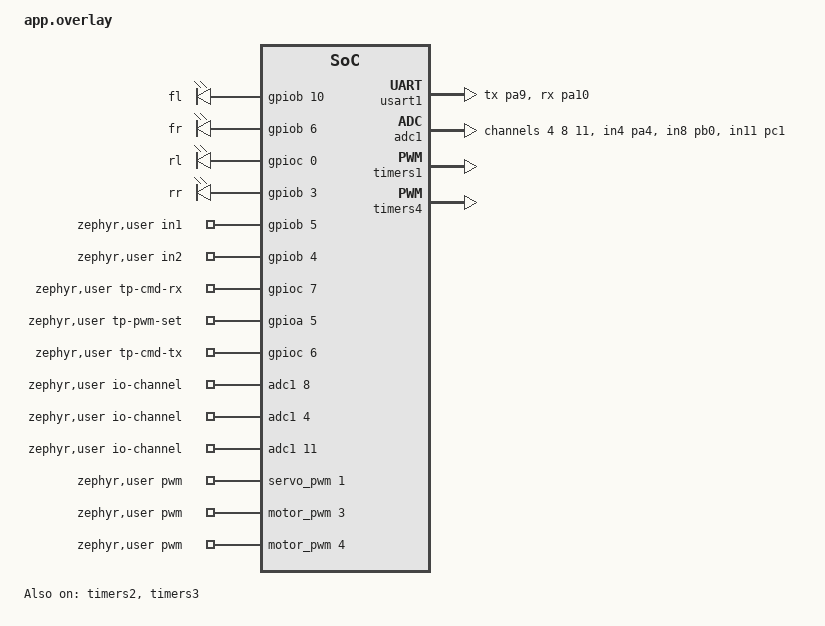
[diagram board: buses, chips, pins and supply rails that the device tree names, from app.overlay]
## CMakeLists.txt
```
# SPDX-License-Identifier: Apache-2.0

cmake_minimum_required(VERSION 3.20.0)
find_package(Zephyr REQUIRED HINTS $ENV{ZEPHYR_BASE})
project(zone_1)

target_sources(app PRIVATE
	src/main.c
	src/control.c
	src/pid.c
	src/inject.c
	src/protocol.c
	src/state.c
	src/rx.c
	src/tx.c
	src/blinker.c
	src/encoder.c
	src/servo.c
	src/motor.c
	src/current.c
)
```

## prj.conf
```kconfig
CONFIG_GPIO=y
CONFIG_PRINTK=y
CONFIG_SENSOR=y
CONFIG_PWM=y
CONFIG_FPU=y
CONFIG_ADC=y

CONFIG_SERIAL=y
CONFIG_UART_INTERRUPT_DRIVEN=y
CONFIG_RING_BUFFER=y

CONFIG_CONSOLE=y
```

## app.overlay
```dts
/ {
	blinkers {
		compatible = "gpio-leds";
		fl: fl { gpios = <&gpiob 10 GPIO_ACTIVE_HIGH>; };  /* D6 */
		fr: fr { gpios = <&gpiob 6 GPIO_ACTIVE_HIGH>; };   /* D10 */
		rl: rl { gpios = <&gpioc 0 GPIO_ACTIVE_HIGH>; };   /* A5 */
		rr: rr { gpios = <&gpiob 3 GPIO_ACTIVE_HIGH>; };   /* D3 */
	};
};

/* the board file enables these on pins we use for other things */
&spi1 { status = "disabled"; };   /* PA5-7 + cs on PB6 */
&i2c1 { status = "disabled"; };   /* PB8/PB9, needed for motor pwm */
&i2c3 { status = "disabled"; };   /* PA8, needed for servo */
&pwm2 { status = "disabled"; };   /* tim2 is the left encoder now */

/* move usart1 off PB6/PB7 to D8/D2 for the pi link */
&usart1 {
	pinctrl-0 = <&usart1_tx_pa9 &usart1_rx_pa10>;
};

/* board puts adc1 on PA0, which is now an encoder pin. these are the
 * three current sensor pins: A2, A3, A4 */
&adc1 {
	pinctrl-0 = <&adc1_in4_pa4 &adc1_in8_pb0 &adc1_in11_pc1>;
};

/* left encoder: A0/A1 */
&timers2 {
	status = "okay";

	enc_left: qdec {
		pinctrl-0 = <&tim2_ch1_pa0 &tim2_ch2_pa1>;
		pinctrl-names = "default";
		st,encoder-mode = <0x3>;           /* count every edge on both phases */
		st,input-filter-level = <10>;      /* ignore short glitches from motor noise */
		st,counts-per-revolution = <1>;    /* required, but we only read raw counts */
		status = "okay";
	};
};

/* right encoder: D12/D11 */
&timers3 {
	status = "okay";

	enc_right: qdec {
		pinctrl-0 = <&tim3_ch1_pa6 &tim3_ch2_pa7>;
		pinctrl-names = "default";
		st,encoder-mode = <0x3>;
		st,input-filter-level = <10>;
		st,counts-per-revolution = <1>;
		status = "okay";
	};
};

/* in case the encoder outputs are open-collector */
&tim2_ch1_pa0 { bias-pull-up; };
&tim2_ch2_pa1 { bias-pull-up; };
&tim3_ch1_pa6 { bias-pull-up; };
&tim3_ch2_pa7 { bias-pull-up; };

/* servo on D7. prescaler makes the timer count at 1 MHz so a 20 ms period fits in its 16-bit counter */
&timers1 {
	status = "okay";
	st,prescaler = <83>;

	servo_pwm: pwm {
		pinctrl-0 = <&tim1_ch1_pa8>;
		pinctrl-names = "default";
		status = "okay";
	};
};

/ {
	zephyr,user {
		/* 0: servo, 1: left motor (ENA), 2: right motor (ENB) */
		pwms = <&servo_pwm 1 PWM_MSEC(20) PWM_POLARITY_NORMAL>,
		       <&motor_pwm 3 PWM_USEC(100) PWM_POLARITY_NORMAL>,
		       <&motor_pwm 4 PWM_USEC(100) PWM_POLARITY_NORMAL>;
		in1-gpios = <&gpiob 5 GPIO_ACTIVE_HIGH>;   /* D4, also drives IN3 */
		in2-gpios = <&gpiob 4 GPIO_ACTIVE_HIGH>;   /* D5, also drives IN4 */
		/* scope test point: toggles on every valid wheel command */
		tp-cmd-rx-gpios = <&gpioc 7 GPIO_ACTIVE_HIGH>;   /* D9 */
		/* scope test point: toggles right after a new motor duty is written to the timer */
		tp-pwm-set-gpios = <&gpioa 5 GPIO_ACTIVE_HIGH>;  /* D13 (also the Nucleo user LED) */
		/* scope test point: toggles on every status frame sent to the Pi */
		tp-cmd-tx-gpios = <&gpioc 6 GPIO_ACTIVE_HIGH>;   /* PC6, CN10 morpho header */
		/* 0: left motor (A3), 1: right motor (A2), 2: servo (A4) */
		io-channels = <&adc1 8>, <&adc1 4>, <&adc1 11>;
	};
};

/* motor pwm on D15 (ENA) and D14 (ENB), same timer so both share a frequency */
&timers4 {
	status = "okay";

	motor_pwm: pwm {
		pinctrl-0 = <&tim4_ch3_pb8 &tim4_ch4_pb9>;
		pinctrl-names = "default";
		status = "okay";
	};
};

/* current sensors: A3 = left motor, A2 = right motor, A4 = servo */
&adc1 {
	pinctrl-0 = <&adc1_in4_pa4 &adc1_in8_pb0 &adc1_in11_pc1>;
	#address-cells = <1>;
	#size-cells = <0>;

	channel@4 {
		reg = <4>;
		zephyr,gain = "ADC_GAIN_1";
		zephyr,reference = "ADC_REF_INTERNAL";
		zephyr,acquisition-time = <ADC_ACQ_TIME(ADC_ACQ_TIME_TICKS, 144)>;
		zephyr,resolution = <12>;
	};

	channel@8 {
		reg = <8>;
		zephyr,gain = "ADC_GAIN_1";
		zephyr,reference = "ADC_REF_INTERNAL";
		zephyr,acquisition-time = <ADC_ACQ_TIME(ADC_ACQ_TIME_TICKS, 144)>;
		zephyr,resolution = <12>;
	};

	channel@b {
		reg = <11>;
		zephyr,gain = "ADC_GAIN_1";
		zephyr,reference = "ADC_REF_INTERNAL";
		zephyr,acquisition-time = <ADC_ACQ_TIME(ADC_ACQ_TIME_TICKS, 144)>;
		zephyr,resolution = <12>;
	};
};

/* built-in adc sensors from the board file, not used and they share adc1 */
&die_temp { status = "disabled"; };
&vref { status = "disabled"; };
&vbat { status = "disabled"; };
```

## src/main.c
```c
#include <zephyr/device.h>
#include <zephyr/devicetree.h>
#include <zephyr/kernel.h>
#include <zephyr/sys/printk.h>

#include "blinker.h"
#include "control.h"
#include "current.h"
#include "encoder.h"
#include "inject.h"
#include "motor.h"
#include "rx.h"
#include "servo.h"
#include "tx.h"

static const struct device *const pi_uart = DEVICE_DT_GET(DT_NODELABEL(usart1));

int main(void)
{
	printk("zone_1 boot\n");

	if (!device_is_ready(pi_uart)) {
		printk("usart1 (Pi link) not ready\n");
		return 0;
	}

	/* current zero is measured inside current_init(), so the motors must be
	 * coasting and the servo undriven until it returns */
	if (encoder_init() || motor_init() || current_init() || servo_init()) {
		printk("peripheral init failed\n");
		return 0;
	}
	blinker_init();

	rx_init();
	control_start();
	tx_start();
	inject_start(); /* TEMP: stands in for the Pi, needs PA9<->PA10 jumper */

	printk("zone_1 up\n");

	while (1) {
		k_sleep(K_SECONDS(1));
	}

	return 0;
}
```

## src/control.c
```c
#include "control.h"

#include <math.h>
#include <stdlib.h>
#include <zephyr/kernel.h>
#include <zephyr/sys/printk.h>

#include "blinker.h"
#include "encoder.h"
#include "motor.h"
#include "servo.h"
#include "state.h"

#include "pid.h"

#define PRINT_EVERY 20

#define RPM_AVG_N 4 

// encounder count is 4.5 rpm for a 10ms window -- take avg
static float rpm_average(float sample)
{
	static float buf[RPM_AVG_N];
	static float sum;
	static int idx;

	sum += sample - buf[idx];
	buf[idx] = sample;
	idx = (idx + 1) % RPM_AVG_N;
	return sum / RPM_AVG_N;
}

struct ff_point {
	int rpm;
	int duty_pct;
};

static const struct ff_point ff_table[] = FF_TABLE;
#define FF_N ARRAY_SIZE(ff_table)
#define RPM_AT_DEADBAND (ff_table[0].rpm)

/* duty % expected to hold a given rpm, interpolated between measured points */
static float ff_duty(float rpm)
{
	if (rpm <= ff_table[0].rpm) {
		return ff_table[0].duty_pct;
	}

	for (size_t i = 1; i < FF_N; i++) {
		if (rpm <= ff_table[i].rpm) {
			const struct ff_point *lo = &ff_table[i - 1];
			const struct ff_point *hi = &ff_table[i];

			return lo->duty_pct + (rpm - lo->rpm) * (hi->duty_pct - lo->duty_pct) /
						      (float)(hi->rpm - lo->rpm);
		}
	}

	return ff_table[FF_N - 1].duty_pct;
}

/* Brake. A shorted-lead brake only resists in proportion to speed, so a wheel turned slowly
 * by hand still spins. Once the wheels are nearly stopped, remember where they are and drive
 * back toward that spot whenever they get pushed off it. Fast movement just gets the
 * shorted-lead brake (no plugging at speed). */
static bool hold_anchored;
static int32_t hold_l, hold_r;
static struct spid hold_pid_l, hold_pid_r;
static float trim_l, trim_r; // last PID correction per wheel, held between ticks
static bool hold_driving;    // hysteresis: true from ENTER until back inside EXIT
static int hold_dir;         // direction last driven (+1 forward, -1 reverse, 0 none)
static int64_t hold_drive_ms; // when we last drove
static int32_t hold_prev_abs; // error magnitude at the previous tick
static bool hold_pushed;      // error shrank since the last tick: wheel is already returning, don't add drive

static void brake_hold_init(void)
{
	pid_init(&hold_pid_l, HOLD_KP, HOLD_KI, HOLD_KD, HOLD_I_LIMIT_PCT, HOLD_I_ZONE_COUNTS,
		 HOLD_OUT_LIMIT_PCT);
	pid_init(&hold_pid_r, HOLD_KP, HOLD_KI, HOLD_KD, HOLD_I_LIMIT_PCT, HOLD_I_ZONE_COUNTS,
		 HOLD_OUT_LIMIT_PCT);
}

static void brake_hold_reset_pid(void)
{
	pid_reset(&hold_pid_l);
	pid_reset(&hold_pid_r);
	trim_l = trim_r = 0.0f;
}

static void brake_hold_release(void)
{
	hold_anchored = false;
	hold_driving = false;
	hold_dir = 0;
}

static void brake_hold(uint32_t pct, float avg_rpm, bool tick)
{
	int32_t pos_l, pos_r;

	encoder_position(&pos_l, &pos_r);

	if (!hold_anchored) {
		if (fabsf(avg_rpm) > HOLD_ENTER_RPM) {
			motor_brake_duty(pct);
			return;
		}
		hold_l = pos_l;
		hold_r = pos_r;
		hold_anchored = true;
		hold_prev_abs = 0;
		hold_pushed = false;
		brake_hold_reset_pid();
	}

	int32_t err_l = hold_l - pos_l; /* > 0: pushed backward, needs to drive forward */
	int32_t err_r = hold_r - pos_r;
	int32_t big = abs(err_l) >= abs(err_r) ? err_l : err_r; /* one direction pin pair drives both */

	// shrinking error = already heading back to the anchor on its own: let the shorted leads
	// settle it. A growing error is an outside push, so keep driving against it.
	if (tick) {
		hold_pushed = abs(big) < hold_prev_abs;
		hold_prev_abs = abs(big);
	}

	// hysteresis: start at ENTER, stop at EXIT
	if (hold_driving) {
		hold_driving = abs(big) > HOLD_EXIT_COUNTS;
	} else {
		hold_driving = abs(big) > HOLD_ENTER_COUNTS;
	}

	int dir = big > 0 ? 1 : -1;
	int64_t now = k_uptime_get();
	bool flipping = hold_dir != 0 && dir != hold_dir && (now - hold_drive_ms) < HOLD_REVERSE_LOCKOUT_MS;

	if (!hold_driving || flipping || hold_pushed) {
		if (!hold_driving) {
			brake_hold_reset_pid(); // don't carry integral/derivative state into the next push
		}
		motor_brake_duty(pct);
		return;
	}

	hold_dir = dir;
	hold_drive_ms = now;

	/* a wheel that isn't off in the dominant direction gets no drive and a clean PID */
	bool drive_l = err_l * big > 0;
	bool drive_r = err_r * big > 0;

	if (tick) {
		trim_l = drive_l ? pid_update(&hold_pid_l, abs(err_l)) : 0.0f;
		trim_r = drive_r ? pid_update(&hold_pid_r, abs(err_r)) : 0.0f;
		if (!drive_l) {
			pid_reset(&hold_pid_l);
		}
		if (!drive_r) {
			pid_reset(&hold_pid_r);
		}
	}

	/* feedforward to get the motor moving, PID trim on top, never more than the pedal allows */
	uint32_t d_l = (uint32_t)CLAMP(HOLD_MIN_DUTY_PCT + trim_l, 0.0f, (float)pct);
	uint32_t d_r = (uint32_t)CLAMP(HOLD_MIN_DUTY_PCT + trim_r, 0.0f, (float)pct);

	if (big > 0) {
		motor_forward();
	} else {
		motor_reverse();
	}
	/* only the wheels that are off in the dominant direction; the other one is left alone */
	motor_duty(drive_l ? d_l : 0, drive_r ? d_r : 0);
}

struct press_detector {
	bool level;
	int64_t last_change_ms;
};

static bool pressed(struct press_detector *p, bool level, int64_t now)
{
	if (level == p->level) {
		return false;
	}

	bool steady = (now - p->last_change_ms) >= SELF_TEST_DEBOUNCE_MS;

	p->level = level;
	p->last_change_ms = now;
	return level && steady;
}

static void enter_error(uint8_t zone)
{
	blinker_hazard(true); // the brake hold in the control loop takes over the motors
	state_set_zone_state(zone);
	printk("ctl: ERROR (%s) -> brake + hazards\n", zone_state_name(zone));
}

static void leave_error(void)
{
	blinker_hazard(false);
	state_set_zone_state(ZONE_STATE_NORMAL);
	printk("ctl: back to normal\n");
}

static void control_thread(void *p1, void *p2, void *p3)
{
	ARG_UNUSED(p1);
	ARG_UNUSED(p2);
	ARG_UNUSED(p3);

	int64_t next = k_uptime_get();
	uint8_t zone = ZONE_STATE_NORMAL; // latest zone 
	bool self_test = false;
	struct press_detector st_btn = {.last_change_ms = -SELF_TEST_DEBOUNCE_MS};
	int64_t last_press_ms = 0; // when self-test was last entered
	bool prev_left = false;
	bool prev_right = false;
	uint32_t n = 0;
	uint32_t duty = 0;
	uint32_t srv_us = 0;
	int target_rpm = 0;
	float meas_rpm = 0.0f;
	float pid_trim = 0.0f; // last PID correction, held between ticks
	float cruise_rpm = 0.0f; // speed the car is rolling down from after the throttle is released
	int rpm_l = 0, rpm_r = 0;
	uint32_t lat_max_us = 0;
	struct spid pid;

	pid_init(&pid, PID_KP, PID_KI, PID_KD, PID_I_LIMIT_PCT, PID_I_ZONE_RPM, PID_OUT_LIMIT_PCT);
	brake_hold_init();

	while (1) {
		// wake on a new wheel frame, or when the next 10 ms tick is due
		bool got_frame = state_wait_wheel_frame(K_TIMEOUT_ABS_MS(next));
		bool tick = k_uptime_get() >= next;

		struct wheel_state ws;

		state_get_wheel_state(&ws);

		// first thing after the read: press = self-test on; a second press within the window = off
		if (pressed(&st_btn, ws.self_test_btn, k_uptime_get())) {
			int64_t now = k_uptime_get();

			if (self_test && ((now - last_press_ms) <= SELF_TEST_DOUBLE_PRESS_MS)) {
				self_test = false;
			} else {
				self_test = true;
				last_press_ms = now;
			}
		}

		// rpm sampling and PID assume a fixed CONTROL_PERIOD_MS step: tick only
		if (tick) {
			next += CONTROL_PERIOD_MS;
			encoder_rpm(CONTROL_PERIOD_MS, &rpm_l, &rpm_r);
			meas_rpm = rpm_average((rpm_l + rpm_r) / 2.0f); // avg across 4 ticks
		}

		int angle = ((int)ws.steering - INT16_MIN) * WHEEL_STEER_MAX / UINT16_MAX;
		srv_us = servo_set_angle(angle);
		blinker_steer(angle);

		// buttons sensitive to edges
		if (ws.left_btn && !prev_left) {
			blinker_left();
		}
		if (ws.right_btn && !prev_right) {
			blinker_right();
		}
		prev_left = ws.left_btn;
		prev_right = ws.right_btn;

		uint8_t want; 
		// priority: link lost > bad command > Pi error > self-test
		if (!link_is_alive()) {
			want = ZONE_STATE_FAILSAFE_LINK_LOST;
		} else if (bad_cmd_active()) {
			want = ZONE_STATE_FAILSAFE_BAD_CMD;
		} else if (ws.rpi_error) {
			want = ZONE_STATE_FAILSAFE_RPI_ERROR;
		} else {
			want = self_test ? ZONE_STATE_FAILSAFE_SELF_TEST : ZONE_STATE_NORMAL;
		}

		bool error = (want != ZONE_STATE_NORMAL);
		if (want != zone) {
			zone = want;
			if (error) {
				enter_error(zone);
			} else {
				leave_error();
			}
		}

		uint32_t brake_pct = ((32767 - ws.brake) * 100) / 65535;
		if (error || brake_pct > 0) {
			pid_reset(&pid);
			pid_trim = 0.0f;
			target_rpm = 0;
			cruise_rpm = 0.0f;
			// error = full brake with position hold, so a hand push can't turn the wheels.
			// steering is set above and doesn't depend on this branch
			duty = error ? 100 : brake_pct;
			brake_hold(duty, meas_rpm, tick);
		} else {
			brake_hold_release();
			// wire throttle is negative = faster; zero or positive means no throttle
			int thr = CLAMP(-(int)ws.throttle, 0, WIRE_AXIS_MAX) * WHEEL_THROTTLE_MAX / WIRE_AXIS_MAX;

			if (thr <= THROTTLE_DEADZONE) {
				/* pedal released: roll the target down like a car coasting, not hold it */
				if (tick) {
					cruise_rpm -= COAST_DECAY_RPM_PER_TICK;
				}
				cruise_rpm = MAX(cruise_rpm, 0.0f);
				target_rpm = (int)cruise_rpm;
			} else {
				/* floor at the slowest speed the motor can hold, up to max */
				target_rpm = RPM_AT_DEADBAND + (thr - THROTTLE_DEADZONE) * (MAX_TARGET_RPM - RPM_AT_DEADBAND) /
						     (WHEEL_THROTTLE_MAX - THROTTLE_DEADZONE);
				cruise_rpm = target_rpm;
			}

			if (target_rpm == 0) {
				pid_reset(&pid);
				pid_trim = 0.0f;
				duty = 0;
			} else if (target_rpm < RPM_AT_DEADBAND) {
				/* rolling off below the slowest speed the motor can hold: no rpm to track,
				 * just taper the duty down from the floor duty */
				pid_reset(&pid);
				pid_trim = 0.0f;
				duty = ff_table[0].duty_pct * target_rpm / RPM_AT_DEADBAND;
			} else {
				float ff = ff_duty(target_rpm); // est duty cycle

				// PID refines on ticks only; a frame wake reuses the last correction
				if (tick) {
					pid_trim = pid_update(&pid, target_rpm - meas_rpm);
				}
				duty = (uint32_t)(CLAMP(ff + pid_trim, 0.0f, 100.0f) + 0.5f);
			}
			motor_forward();
			motor_duty(duty, duty);
		}

		// frame -> output latency (rx store to here), worst case since last print
		if (got_frame) {
			uint32_t cyc = k_cycle_get_32() - state_wheel_frame_cycle();
			uint32_t us = (uint32_t)k_cyc_to_us_near32(cyc);

			lat_max_us = MAX(lat_max_us, us);
		}

		if (tick && ++n % PRINT_EVERY == 0) {
			printk("ctl: %-5s steer=%3d thr=%4d brk=%4d tgt=%3d avg=%3d duty=%3u%% rpm L%4d R%4d srv=%uus lat<=%uus\n",
			       error ? "ERROR" : "OK", ws.steering, ws.throttle, ws.brake,
			       target_rpm, (int)meas_rpm, duty, rpm_l, rpm_r, srv_us, lat_max_us);
			lat_max_us = 0;
		}
	}
}

#define CONTROL_STACK_SIZE 1536
#define CONTROL_PRIORITY   3 /* above rx (5) and status tx (6): brake has the tightest deadline */

K_THREAD_DEFINE(control_tid, CONTROL_STACK_SIZE, control_thread, NULL, NULL, NULL,
		CONTROL_PRIORITY, 0, SYS_FOREVER_MS);

void control_start(void)
{
	k_thread_start(control_tid);
}
```

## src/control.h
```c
#ifndef CONTROL_H_
#define CONTROL_H_

#define CONTROL_PERIOD_MS  10

// TODO: placeholder values
#define WHEEL_STEER_MAX    900   /* servo/blinker scale: 0 = full left, 450 = center, 900 = full right */
#define STEER_CENTER       (WHEEL_STEER_MAX / 2)
/* the Pi forwards the raw wheel axes (lX/lY/lRz) as signed 16-bit values:
 * steering negative = left, 0 = center; throttle/brake negative = pressed.
 * Full travel is +/-WIRE_AXIS_MAX, scaled onto the 0..WHEEL_*_MAX scales below. */
#define WIRE_AXIS_MAX      32767
#define WHEEL_THROTTLE_MAX 1000  /* magnitude; on the wire throttle is negative = faster */
#define WHEEL_BRAKE_MAX    1000

/* brake hold: once nearly stopped, lock the wheels at the position they stopped at */
#define HOLD_ENTER_RPM        5    /* above this just short the leads; anchor only once basically stopped
                                    * (1 count per 10 ms tick is ~4.5 rpm). Anchoring while still rolling
                                    * makes the wheels overshoot the anchor and the 55% kick back jitters */
/* hysteresis: start driving back once the error passes ENTER, stop (and just short the leads) once it
 * is inside EXIT. A single 55% push moves the wheel further than a small deadband, so a tight
 * deadband makes it overshoot and kick back and forth. 1320 counts/rev. */
#define HOLD_ENTER_COUNTS     8    /* ~2 deg of wheel travel; raise if it chatters at rest */
#define HOLD_EXIT_COUNTS      3
#define HOLD_REVERSE_LOCKOUT_MS 50 /* no direction flip this soon after driving the other way */
#define HOLD_MIN_DUTY_PCT     55   /* the motor doesn't move below ~50% duty, so push at least this hard */
/* hold PID: duty = HOLD_MIN_DUTY_PCT (feedforward) + PID(position error in counts). Gains are per 10 ms tick. */
#define HOLD_KP               0.5f /* duty % per encoder count of error */
#define HOLD_KI               0.0f /* off: the floor duty already overshoots, integral only adds push */
#define HOLD_KD               0.0f /* off until the limit cycle is gone; error changes ~30 counts/tick at speed */
#define HOLD_I_LIMIT_PCT      15.0f /* max duty % the integral term can contribute */
#define HOLD_I_ZONE_COUNTS    30.0f /* only integrate when the error is within this many counts */
#define HOLD_OUT_LIMIT_PCT    20.0f /* max PID trim either way */

/* throttle released: target rpm falls by this every 10 ms tick (0.5 -> 230 rpm rolls off in ~4.6 s;
 * below the slowest holdable rpm the duty tapers to 0 over the rest of the ramp) */
#define COAST_DECAY_RPM_PER_TICK 0.5f

/* PID */
#define MAX_TARGET_RPM     230

/* feedforward table */
#define FF_TABLE { \
	{ 143,  60 }, \
	{ 208,  70 }, \
	{ 266,  80 }, \
	{ 302,  90 }, \
	{ 315, 100 }, \
}
/* does not move <=50% duty; throttle at or below this commands 0 rpm */
#define THROTTLE_DEADZONE  50

// gains
#define PID_KP             0.2f
#define PID_KI             0.01f
#define PID_KD             0.0f
#define PID_I_LIMIT_PCT    30.0f // max duty % the integral term can contribute
#define PID_I_ZONE_RPM     30.0f // only integrate when abs(error) is within this
#define PID_OUT_LIMIT_PCT  20.0f // max duty the PID may change

// self test
#define SELF_TEST_DEBOUNCE_MS     20
#define SELF_TEST_DOUBLE_PRESS_MS 500

// start ctrl thread
void control_start(void);

#endif /* CONTROL_H_ */
```

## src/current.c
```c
#include <zephyr/kernel.h>
#include <zephyr/drivers/adc.h>
#include "current.h"

/* acs712elc-05b */
#define MV_PER_AMP 185
/* averaging smooths out pwm ripple at the cost of a little time per read */
#define SAMPLES 8

static const struct adc_dt_spec ch[CUR_COUNT] = {
	ADC_DT_SPEC_GET_BY_IDX(DT_PATH(zephyr_user), 0),
	ADC_DT_SPEC_GET_BY_IDX(DT_PATH(zephyr_user), 1),
	ADC_DT_SPEC_GET_BY_IDX(DT_PATH(zephyr_user), 2),
};

static int zero_mv[CUR_COUNT];

static int read_mv(const struct adc_dt_spec *spec)
{
	uint16_t buf;
	int32_t sum = 0;
	struct adc_sequence seq = {
		.buffer = &buf,
		.buffer_size = sizeof(buf),
	};

	adc_sequence_init_dt(spec, &seq);
	for (int i = 0; i < SAMPLES; i++) {
		adc_read_dt(spec, &seq);
		sum += buf;
	}

	int32_t mv = sum / SAMPLES;
	adc_raw_to_millivolts_dt(spec, &mv);
	return mv;
}

int current_init(void)
{
	for (int i = 0; i < CUR_COUNT; i++) {
		if (!adc_is_ready_dt(&ch[i])) {
			printk("adc not ready\n");
			return -ENODEV;
		}
		int err = adc_channel_setup_dt(&ch[i]);
		if (err) {
			printk("channel %d setup failed: %d\n", ch[i].channel_id, err);
			return err;
		}
	}

	/* each sensor sits near 2.5 v at 0 a but not exactly, so take the zero at boot while nothing is running */
	for (int i = 0; i < CUR_COUNT; i++) {
		zero_mv[i] = read_mv(&ch[i]);
	}
	printk("current zero: L %d  R %d  S %d mV\n",
	       zero_mv[CUR_LEFT], zero_mv[CUR_RIGHT], zero_mv[CUR_SERVO]);
	return 0;
}

void current_read_ma(int ma[CUR_COUNT])
{
	for (int i = 0; i < CUR_COUNT; i++) {
		ma[i] = (read_mv(&ch[i]) - zero_mv[i]) * 1000 / MV_PER_AMP;
	}
}
```

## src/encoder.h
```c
#pragma once

int encoder_init(void);
void encoder_rpm(int period_ms, int *left, int *right);
```

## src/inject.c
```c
#include "inject.h"

#include <zephyr/device.h>
#include <zephyr/devicetree.h>
#include <zephyr/drivers/uart.h>
#include <zephyr/kernel.h>
#include <zephyr/sys/printk.h>

#include "control.h"
#include "protocol.h"
#include "tx.h"

#define SEND_PERIOD_MS 20
#define BTN_HOLD_TICKS 5 /* a "press" lasts 100 ms, like a real button */

static const struct device *const con = DEVICE_DT_GET(DT_CHOSEN(zephyr_console));

static void print_help(void)
{
	printk("\nsteer:    a/d -/+50   c center\n");
	printk("throttle: w/s +/-100  x zero\n");
	printk("brake:    space toggle\n");
	printk("blinker:  q left  e right (button press)\n");
	printk("link:     l cut/restore the frame stream (link-loss test)\n");
	printk("other:    ? help\n\n");
}

static void inject_thread(void *p1, void *p2, void *p3)
{
	ARG_UNUSED(p1);
	ARG_UNUSED(p2);
	ARG_UNUSED(p3);

	int steering = WHEEL_STEER_MAX / 2;
	int throttle = 0;
	int brake = 0;
	int left_hold = 0, right_hold = 0;
	bool link_cut = false;
	uint8_t seq = 0;
	unsigned char c;

	print_help();

	while (1) {
		while (uart_poll_in(con, &c) == 0) {
			switch (c) {
			case 'a':
				steering = CLAMP(steering - 50, 0, WHEEL_STEER_MAX);
				break;
			case 'd':
				steering = CLAMP(steering + 50, 0, WHEEL_STEER_MAX);
				break;
			case 'c':
				steering = WHEEL_STEER_MAX / 2;
				break;
			case 'w':
				throttle = MIN(throttle + 100, WHEEL_THROTTLE_MAX);
				break;
			case 's':
				throttle = MAX(throttle - 100, 0);
				break;
			case 'x':
				throttle = 0;
				break;
			case ' ':
				brake = brake ? 0 : -WIRE_AXIS_MAX; /* negative = pressed, full brake */
				break;
			case 'q':
				left_hold = BTN_HOLD_TICKS;
				break;
			case 'e':
				right_hold = BTN_HOLD_TICKS;
				break;
			case 'l':
				link_cut = !link_cut;
				printk("> frame stream %s\n", link_cut ? "CUT" : "restored");
				break;
			case '?':
				print_help();
				break;
			}
		}

		if (!link_cut) {
			uint8_t data[8] = {0};

			/* the injector's steering/throttle are 0-based (0 = left, 450 = center;
			 * 0 = idle, up = faster); convert to the wire convention:
			 * steering signed around 0 (negative = left), throttle negative = faster */
			int16_t wire_steer = (steering - STEER_CENTER) * WIRE_AXIS_MAX / STEER_CENTER;
			int16_t wire_thr = -throttle * WIRE_AXIS_MAX / WHEEL_THROTTLE_MAX;

			data[0] = (wire_steer >> 8) & 0xFF;
			data[1] = wire_steer & 0xFF;
			data[2] = (wire_thr >> 8) & 0xFF;
			data[3] = wire_thr & 0xFF;
			data[4] = (brake >> 8) & 0xFF;
			data[5] = brake & 0xFF;
			data[6] = (left_hold ? 0x80 : 0) | (right_hold ? 0x01 : 0);

			uint8_t frame[CMD_FRAME_LEN];

			encode_frame(MSG_WHEEL_STATE, seq++, data, frame);
			uart_send_frame(frame, CMD_FRAME_LEN);
		}

		if (left_hold) {
			left_hold--;
		}
		if (right_hold) {
			right_hold--;
		}

		k_sleep(K_MSEC(SEND_PERIOD_MS));
	}
}

#define INJECT_STACK_SIZE 1024
#define INJECT_PRIORITY   7

K_THREAD_DEFINE(inject_tid, INJECT_STACK_SIZE, inject_thread, NULL, NULL, NULL,
		INJECT_PRIORITY, 0, SYS_FOREVER_MS);

void inject_start(void)
{
	k_thread_start(inject_tid);
}
```

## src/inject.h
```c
#ifndef INJECT_H_
#define INJECT_H_

/* TEMP bench tool: stands in for the Pi. Reads keys from the ST-Link console
 * and sends real MSG_WHEEL_STATE frames out usart1, so the whole path
 * (encode -> UART -> ISR -> ring buf -> parser -> state -> control) is used.
 * Requires PA9 (usart1 TX, D8) jumpered to PA10 (usart1 RX, D2).
 * Delete once the real Pi sender exists.
 */
void inject_start(void);

#endif /* INJECT_H_ */
```

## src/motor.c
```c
#include <zephyr/kernel.h>
#include <zephyr/drivers/pwm.h>
#include <zephyr/drivers/gpio.h>
#include "motor.h"

#define USER DT_PATH(zephyr_user)

static const struct pwm_dt_spec ena = PWM_DT_SPEC_GET_BY_IDX(USER, 1);
static const struct pwm_dt_spec enb = PWM_DT_SPEC_GET_BY_IDX(USER, 2);
static const struct gpio_dt_spec in1 = GPIO_DT_SPEC_GET(USER, in1_gpios);
static const struct gpio_dt_spec in2 = GPIO_DT_SPEC_GET(USER, in2_gpios);
static const struct gpio_dt_spec tp_pwm_set = GPIO_DT_SPEC_GET(USER, tp_pwm_set_gpios);

int motor_init(void)
{
	if (!pwm_is_ready_dt(&ena) || !pwm_is_ready_dt(&enb) ||
	    !gpio_is_ready_dt(&in1) || !gpio_is_ready_dt(&in2) ||
	    !gpio_is_ready_dt(&tp_pwm_set)) {
		return -ENODEV;
	}
	gpio_pin_configure_dt(&in1, GPIO_OUTPUT_INACTIVE);
	gpio_pin_configure_dt(&in2, GPIO_OUTPUT_INACTIVE);
	gpio_pin_configure_dt(&tp_pwm_set, GPIO_OUTPUT_INACTIVE);
	motor_coast();
	return 0;
}

void motor_forward(void)
{
	gpio_pin_set_dt(&in1, 1);
	gpio_pin_set_dt(&in2, 0);
}

void motor_reverse(void)
{
	gpio_pin_set_dt(&in1, 0);
	gpio_pin_set_dt(&in2, 1);
}

/* every duty change goes through here so PWM_SET toggles right after the timer write */
void motor_duty(uint32_t left_pct, uint32_t right_pct)
{
	pwm_set_pulse_dt(&ena, ena.period * MIN(left_pct, 100) / 100);
	pwm_set_pulse_dt(&enb, enb.period * MIN(right_pct, 100) / 100);
	gpio_pin_toggle_dt(&tp_pwm_set);
}

/* both inputs low with enable fully on shorts the motor leads, so it stops fast.
 * in1 drops from 1 to 0 here when coming from forward, which gives dir_a an edge */
void motor_brake(void)
{
	motor_brake_duty(100);
}

/* same shorted-leads brake, but only for pct% of each pwm period (the rest coasts),
 * so the braking force scales with pct */
void motor_brake_duty(uint32_t pct)
{
	gpio_pin_set_dt(&in1, 0);
	gpio_pin_set_dt(&in2, 0);
	motor_duty(pct, pct);
}

/* enable off disconnects the motor so it spins down on its own */
void motor_coast(void)
{
	motor_duty(0, 0);
}
```

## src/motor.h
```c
#pragma once
#include <stdint.h>

int motor_init(void);
void motor_forward(void);
void motor_reverse(void);
void motor_duty(uint32_t left_pct, uint32_t right_pct);
void motor_brake(void);
void motor_brake_duty(uint32_t pct);
void motor_coast(void);
```

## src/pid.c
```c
#include "pid.h"

#include <zephyr/kernel.h>

void pid_init(struct spid *pid, float kp, float ki, float kd, float i_limit_out)
{
	pid->pGain = kp;
	pid->iGain = ki;
	pid->dGain = kd;
	pid->iMax = ki > 0.0f ? i_limit_out / ki : 0.0f;
	pid->iMin = -pid->iMax;
	pid_reset(pid);
}

void pid_reset(struct spid *pid)
{
	pid->dState = 0.0f;
	pid->iState = 0.0f;
}

float pid_update(struct spid *pid, float error)
{
	float pTerm, dTerm, iTerm;

	pTerm = pid->pGain * error;

	pid->iState = CLAMP(pid->iState + error, pid->iMin, pid->iMax);
	iTerm = pid->iGain * pid->iState;

	dTerm = pid->dGain * (error - pid->dState); // calc the derivative term
	pid->dState = error;

	return pTerm + iTerm + dTerm;
}
```

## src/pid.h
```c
#ifndef PID_H_
#define PID_H_

// fixed period PID -- gains are per tick
struct spid {
	float dState; // past error
	float iState; // integral error 

	// integrator state limits
	float iMax; 
	float iMin;

	float iGain; // integral gain (k_i)
	float pGain; // proportional gain (k_p)
	float dGain; // derivative gain (k_d)

	float iZone;    // integrate only when abs(error) below threshold (stops windup on big errors)
	float outLimit; // max change from pid
};

void pid_init(struct spid *pid, float kp, float ki, float kd, float i_limit_out,
	      float i_zone, float out_limit);
void pid_reset(struct spid *pid);
float pid_update(struct spid *pid, float error);

#endif /* PID_H_ */
```

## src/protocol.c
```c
#include "protocol.h"

uint8_t checksum(const uint8_t *data, size_t len)
{
	uint8_t sum = 0;

	for (size_t i = 0; i < len; i++) {
		sum ^= data[i];
	}

	return sum;
}

/* --------------------------------- RX --------------------------------- */
// check if valid msg
bool is_known_msg_type(uint8_t msg_type)
{
	switch (msg_type) {
		case MSG_WHEEL_STATE:
			return true;
		case MSG_HB_RPI:
			return true;
		case MSG_HB_DRIVETRAIN:
			return true;
		case MSG_FORCE_FDBK:
			return true;
		case MSG_STATUS: // TEMP: only relevant on the self-loopback test rig -
			return true; // the real Pi never echoes this back to the STM32
		default:
			return false;
	}
}

const char *zone_state_name(uint8_t zone_state)
{
	switch (zone_state) {
	case ZONE_STATE_NORMAL:
		return "NORMAL";
	case ZONE_STATE_FAILSAFE_LINK_LOST:
		return "FAILSAFE_LINK_LOST";
	case ZONE_STATE_FAILSAFE_SELF_TEST:
		return "FAILSAFE_SELF_TEST";
	case ZONE_STATE_FAILSAFE_BAD_CMD:
		return "FAILSAFE_BAD_CMD";
	default:
		return "UNKNOWN";
	}
}

// axes use the full int16 range so any value is fine; only the button byte can be out of range
bool wheel_frame_valid(const uint8_t *frame)
{
	return (frame[2 + 6] & BTN_RESERVED_MASK) == 0;
}

// get wheel info
void decode_wheel_state(const uint8_t *frame, struct wheel_state *out)
{
	const uint8_t *data = frame+2;

	out->seq = frame[1];
	out->steering = (data[0] << 8 | data[1]);
	out->throttle = (data[2] << 8 | data[3]);
	out->brake = (data[4] << 8 | data[5]);
	out->left_btn = (data[6] >> BTN_BIT_LEFT) & 1;
	out->right_btn = (data[6] >> BTN_BIT_RIGHT) & 1;
	out->self_test_btn = (data[6] >> BTN_BIT_SELF_TEST) & 1;
}

// get heartbeat info
void decode_heartbeat(const uint8_t *frame, struct heartbeat *out)
{
	const uint8_t *data = &frame[2];

	out->seq = frame[1];
	out->line_alive = data[0] >> 7;
}

// get force feedback info
void decode_force_feedback(const uint8_t *frame, struct force_feedback *out)
{
	const uint8_t *data = &frame[2];

	out->seq = frame[1];
	out->force = (data[0] << 8 | data[1]);
}

void decode_status(const uint8_t *frame, struct status_frame *out)
{
	const uint8_t *data = &frame[2];

	out->seq = frame[1];
	out->motor_a_current = (data[0] << 8 | data[1]);
	out->motor_b_current = (data[2] << 8 | data[3]);
	out->servo_current = (data[4] << 8 | data[5]);
	out->zone_state = data[6];
}

/* --------------------------------- TX --------------------------------- */
// form payload
void encode_status_data(uint16_t motor_a_current, uint16_t motor_b_current,
			 uint16_t servo_current, uint8_t zone_state, uint8_t data[8])
{
	data[0] = motor_a_current >> 8;
	data[1] = motor_a_current & 0xFF;
	data[2] = motor_b_current >> 8;
	data[3] = motor_b_current & 0xFF;
	data[4] = servo_current >> 8;
	data[5] = servo_current & 0xFF;
	data[6] = zone_state;
	data[7] = 0;
}

// form frame
void encode_frame(uint8_t msg_type, uint8_t seq, const uint8_t data[8], uint8_t *frame_out)
{
	frame_out[0] = msg_type;
	frame_out[1] = seq;

	for (int i = 0; i < 8; i++) {
		frame_out[2 + i] = data[i];
	}

	frame_out[CMD_FRAME_LEN - 1] = checksum(frame_out, CMD_CHK_LEN);
}
```

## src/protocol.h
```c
#ifndef PROTOCOL_H_
#define PROTOCOL_H_

#include <stdbool.h>
#include <stddef.h>
#include <stdint.h>

// frame: [msg type(1B)][seq(1B)][data(8B)][checksum(1B)]
#define MSG_WHEEL_STATE 0x01 // steering(2B) throttle(2B) brake(2B) btn(1B)
#define MSG_HB_RPI      0x02 // line_alive(1B): bit7=alive
#define MSG_HB_DRIVETRAIN 0x03 // line_alive(1B): bit7=alive
#define MSG_STATUS      0x04 // motor_a_current(2B) motor_b_current(2B) servo_current(2B) zone_state(1B) reserved(1B)
#define MSG_FORCE_FDBK  0x05 // force(2B)

#define CMD_CHK_LEN   (10) // msg_type + seq + data
#define CMD_FRAME_LEN (CMD_CHK_LEN + 1)      // + checksum

// button byte: bit7 = left blinker, bit0 = right blinker, bits 4/3/2 = A/B/X (set by the Pi receiver)
#define BTN_BIT_LEFT       7
#define BTN_BIT_SELF_TEST  3 // B button
#define BTN_BIT_RIGHT      0
#define BTN_RESERVED_MASK  0x62 // bits 6, 5, 1 are never 1

struct wheel_state {
	uint8_t seq;
	int16_t steering;
	int16_t throttle;
	int16_t brake;
	bool left_btn;
	bool right_btn;
	bool self_test_btn;
};

struct heartbeat {
	uint8_t seq;
	bool line_alive;
};

struct force_feedback {
	uint8_t seq;
	int16_t force;
};

// TEMP: loopback test only - real Pi never sends this back to the STM32
struct status_frame {
	uint8_t seq;
	uint16_t motor_a_current;
	uint16_t motor_b_current;
	uint16_t servo_current;
	uint8_t zone_state;
};

enum zone_state {
	ZONE_STATE_NORMAL = 0,
	ZONE_STATE_FAILSAFE_LINK_LOST = 1,
	ZONE_STATE_FAILSAFE_SELF_TEST = 2, // add when there's button
	ZONE_STATE_FAILSAFE_BAD_CMD = 3,   // for out-of-range detection
};

uint8_t checksum(const uint8_t *data, size_t len);

bool is_known_msg_type(uint8_t msg_type);

const char *zone_state_name(uint8_t zone_state);

bool wheel_frame_valid(const uint8_t *frame);
void decode_wheel_state(const uint8_t *frame, struct wheel_state *out);
void decode_heartbeat(const uint8_t *frame, struct heartbeat *out);
void decode_force_feedback(const uint8_t *frame, struct force_feedback *out);
void decode_status(const uint8_t *frame, struct status_frame *out);

void encode_status_data(uint16_t motor_a_current, uint16_t motor_b_current,
			 uint16_t servo_current, uint8_t zone_state, uint8_t data[8]);
void encode_frame(uint8_t msg_type, uint8_t seq, const uint8_t data[8], uint8_t *frame_out);

#endif /* PROTOCOL_H_ */
```
